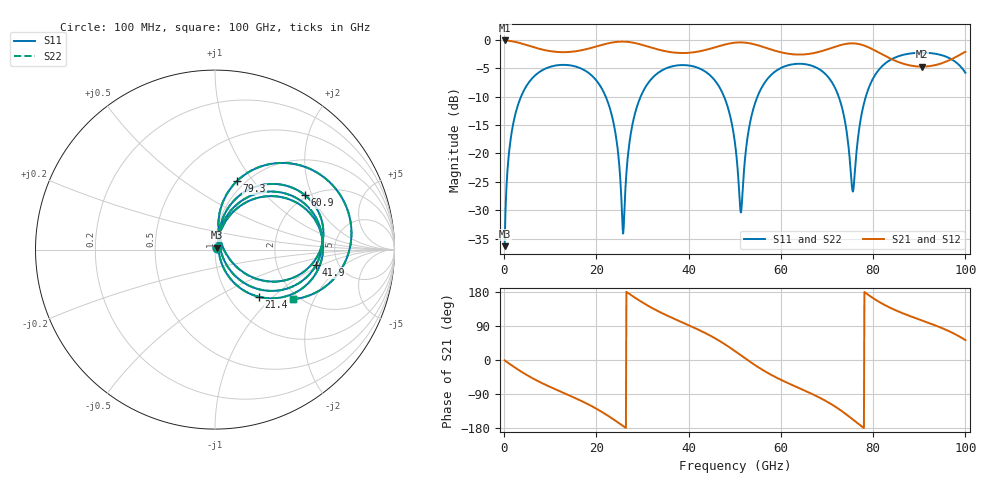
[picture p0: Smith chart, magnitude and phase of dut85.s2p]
! Touchstone file exported from HFSS 2026.1.0
!  File:  C:/ffzhzh/LocalFiles/Ansys_Project_Files/temp_train_TSV_RDL_85_1783629938_33328.aedt
!  Generated:  04:54:36 AM Jul 10, 2026
!  Design:  TSV_RDL
!  Project:  temp_train_TSV_RDL_85_1783629938_33328
! Variables:
!  h_bsmrdl = 2.77um
!  h_ox = 20um
!  h_rdl = 5um
!  h_sub = 76.2um
!  h_tmrdl = 4.42um
!  h_tsv = 76.2um
!  h_via = 3um
!  l_bsmrdl = 248.92um
!  l_sub = 2221.24um
!  l_tmrdl = 241.8um
!  m_sub = 200um
!  pitch = 57.46um
!  r_tsv = 7.69um
!  s_tmrdl = 10um
!  w_bsmrdl = 20.96um
!  w_sub = 500um
!  w_tmrdl = 14.8um
!  x_tsv_center1 = 249.2um
!  x_tsv_center2 = 519.08um
!  x_tsv_center3 = 775.68um
!  x_tsv_center4 = 1045.56um
!  x_tsv_center5 = 1302.16um
!  x_tsv_center6 = 1572.04um
# GHz S MA R 50.000000
! Terminal data exported
! Port[1] = TM_RDL1_1_T1
! Port[2] = TM_RDL5_1_T1
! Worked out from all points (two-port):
!   1000 points, 100 MHz to 100 GHz, reference 50 ohm
!   highest |S21| = -0.10 dB at 100 MHz (marker M1); lowest = -4.7 dB at 90.6 GHz (marker M2)
!   |S21| within 3 dB of the highest: start of sweep to 83.25 GHz; 97.73 GHz to end of sweep
!   lowest |S11| = -36.3 dB at 100 MHz (marker M3), VSWR 1.03, Z = 51.2 + j1.01 ohm
!   |S11| at or under -10 dB: 22.03 GHz to 29.59 GHz (7.562 GHz wide, 29.3 % of centre); 47.68 GHz to 54.91 GHz (7.231 GHz wide, 14.1 % of centre); 72.53 GHz to 78.41 GHz (5.874 GHz wide, 7.78 % of centre) (the widest 3 of 4)
!   |S22| runs from -36.3 to -2.3 dB; largest |S21 - S12| = 1.1e-12
!   S11 on the Smith chart (normalised r, x): 100 MHz: 1.02, +0.02; 21.4 GHz: 1.36, -0.82; 41.9 GHz: 3.42, -0.86; 60.9 GHz: 1.93, +1.78; 79.3 GHz: 0.92, +0.83; 100 GHz: 1.85, -1.39
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0.1  0.01527 40.2  0.9884 -0.9  0.9884 -0.9  0.01527 40.2
! Gamma 0 0 0 0
! Port Impedance 50 0 50 0
1.5  0.1419 71.2  0.9755 -13.0  0.9755 -13.0  0.1419 71.2
4.2  0.3533 52.7  0.918 -34.4  0.918 -34.4  0.3533 52.7
16.8  0.5568 -18.8  0.8109 -108.4  0.8109 -108.4  0.5568 -18.8
21.4  0.3584 -47.2  0.9078 -138.6  0.9078 -138.6  0.3584 -47.2
24  0.1619 -63.4  0.9561 -159.1  0.9561 -159.1  0.1619 -63.3
25.8  0.01974 5.0  0.966 -174.2  0.966 -174.2  0.02015 5.1
28.3  0.2195 69.1  0.9393 165.0  0.9393 165.0  0.2196 69.0
33.4  0.513 36.7  0.8226 128.7  0.8226 128.7  0.513 36.6
41.9  0.57 -8.5  0.7868 81.2  0.7868 81.2  0.57 -8.6
47.2  0.3496 -40.2  0.8948 46.6  0.8948 46.6  0.3496 -40.3
50.1  0.1184 -53.3  0.9455 23.0  0.9455 23.0  0.1183 -53.6
51.4  0.03105 24.7  0.9503 11.8  0.9503 11.8  0.03054 24.8
54.5  0.2849 69.4  0.908 -14.4  0.908 -14.4  0.2848 69.5
60.9  0.5864 31.1  0.764 -57.4  0.764 -57.4  0.5864 31.0
66.7  0.5921 1.3  0.7595 -89.3  0.7595 -89.3  0.5921 1.2
72.5  0.3191 -32.7  0.8892 -128.8  0.8892 -128.8  0.3189 -32.9
75.6  0.04619 22.6  0.9321 -156.9  0.9321 -156.9  0.04493 22.6
79.3  0.4001 72.2  0.8486 168.9  0.8486 168.9  0.3999 72.4
83.4  0.6541 46.6  0.695 139.6  0.695 139.6  0.654 46.7
90.6  0.7715 13.9  0.5815 104.2  0.5815 104.2  0.7715 13.9
100  0.5134 -32.6  0.7862 52.4  0.7862 52.4  0.5134 -32.5
